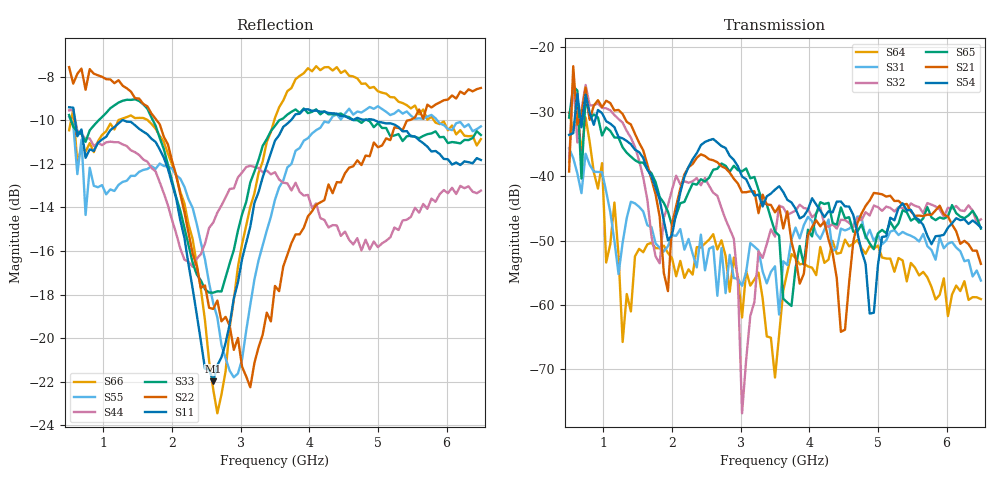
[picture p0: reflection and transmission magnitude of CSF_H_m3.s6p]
!Keysight Technologies,M9804A,MY58100912,A.14.10.03
!Date: Thursday, April 27, 2023 10:28:33
!Correction: S11(C  6-Port  )
!S12(C  6-Port  )
!S13(C  6-Port  )
!S14(C  6-Port  )
!S15(C  6-Port  )
!S16(C  6-Port  )
!S21(C  6-Port  )
!S22(C  6-Port  )
!S23(C  6-Port  )
!S24(C  6-Port  )
!S25(C  6-Port  )
!S26(C  6-Port  )
!S31(C  6-Port  )
!S32(C  6-Port  )
!S33(C  6-Port  )
!S34(C  6-Port  )
!S35(C  6-Port  )
!S36(C  6-Port  )
!S41(C  6-Port  )
!S42(C  6-Port  )
!S43(C  6-Port  )
!S44(C  6-Port  )
!S45(C  6-Port  )
!S46(C  6-Port  )
!S51(C  6-Port  )
!S52(C  6-Port  )
!S53(C  6-Port  )
!S54(C  6-Port  )
!S55(C  6-Port  )
!S56(C  6-Port  )
!S61(C  6-Port  )
!S62(C  6-Port  )
!S63(C  6-Port  )
!S64(C  6-Port  )
!S65(C  6-Port  )
!S66(C  6-Port  )
!S6P File: Measurement: :
# Hz S  RI  R 50
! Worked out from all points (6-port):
!   101 points, 500 MHz to 6.5 GHz, reference 50 ohm
!   strongest paths, dB at 500 MHz, 2 GHz, 3.5 GHz, 5 GHz, 6.5 GHz:
!     S54: -33.6, -49.1, -42.1, -53.8, -48.0
!     S21: -39.3, -47.4, -45.6, -42.7, -53.6
!     S65: -30.9, -47.7, -48.6, -48.9, -48.1
!     S32: -37.8, -42.1, -49.4, -44.8, -46.7
!     S31: -35.7, -49.2, -54.0, -49.0, -56.2
!     S64: -30.1, -52.8, -71.3, -50.8, -59.1
!   lowest |S11| = -22.0 dB at 2.6 GHz (marker M1), VSWR 1.17, Z = 42.8 + j1.89 ohm
!   |S11| at or under -10 dB: 586.4 MHz to 1.274 GHz (687.8 MHz wide, 73.9 % of centre); 1.291 GHz to 3.732 GHz (2.44 GHz wide, 97.2 % of centre); 4.953 GHz to end of sweep
